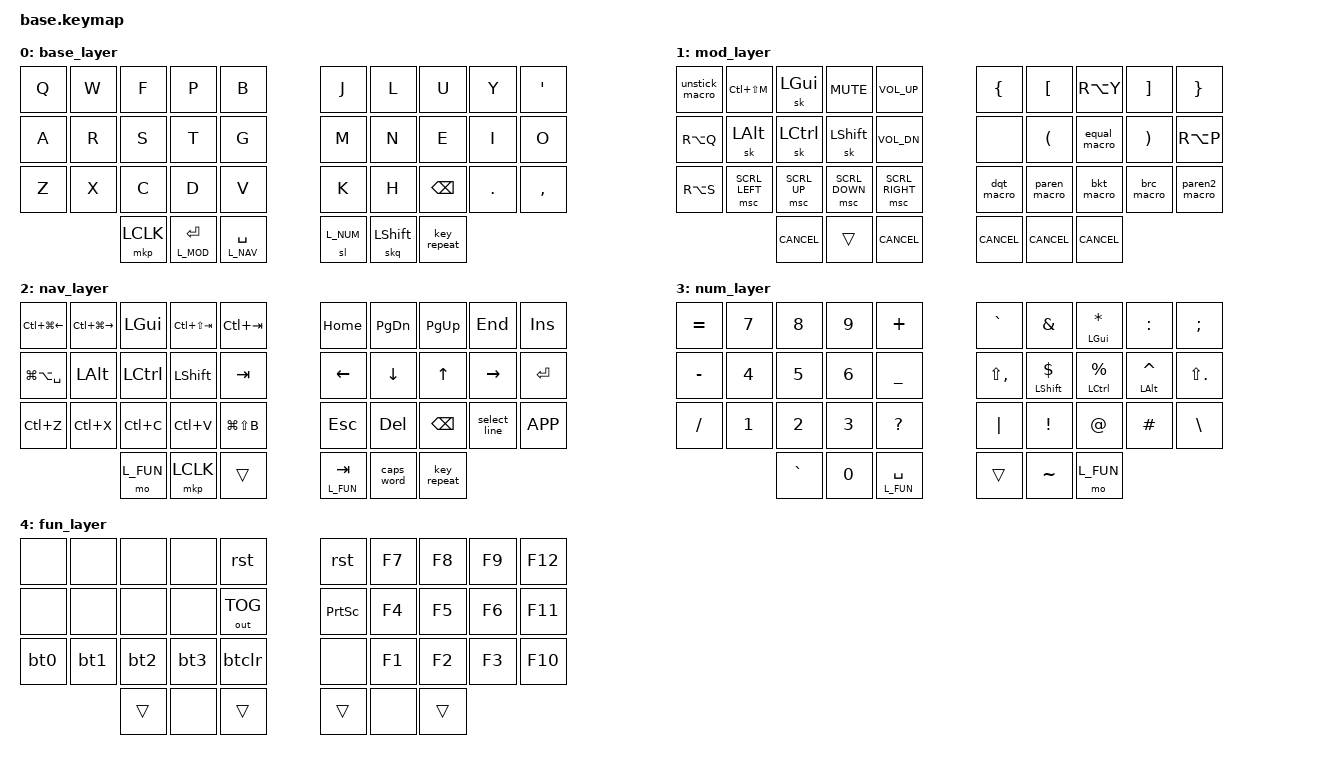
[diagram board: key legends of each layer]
#include <behaviors.dtsi>
#include <dt-bindings/zmk/keys.h>
#include <dt-bindings/zmk/bt.h>
#include <dt-bindings/zmk/outputs.h>
#include <dt-bindings/zmk/pointing.h>


#define L_BASE    0
#define L_MOD     1
#define L_NAV     2
#define L_NUM     3
#define L_FUN     4

//#define AS(keycode) &as LS(keycode) keycode

#define WIN_UND &kp LC(Z)
#define WIN_CUT &kp LC(X)
#define WIN_CPY &kp LC(C)
#define WIN_PST &kp LC(V)
#define WIN_PST2 &kp LG(LS(B))

&sk {
    release-after-ms = <3000>;
};


/ {
  behaviors {
    //// auto shift behavior copied from: https://github.com/serebrov/zmk-config/blob/master/config/microdox.keymap#L23-L36
    //as: auto_shift {
    //    compatible = "zmk,behavior-hold-tap";
    //    #binding-cells = <2>;
    //    tapping-term-ms = <250>;
    //    quick-tap-ms = <150>;
    //    flavor = "tap-preferred";
    //    bindings = <&kp>, <&kp>;
    //};

    // Note: quick-release fixes the issue of sticky shift producing multiple upper case letters (see https://github.com/zmkfirmware/zmk/issues/903#issuecomment-909209198).
    skq: sticky_key_quick_release {
      compatible = "zmk,behavior-sticky-key";
      #binding-cells = <1>;
      bindings = <&kp>;
      release-after-ms = <3000>;
      quick-release;
      ignore-modifiers;
    };

    hm: homerow_mods {
      compatible = "zmk,behavior-hold-tap";
      #binding-cells = <2>;
      flavor = "tap-preferred";
      tapping-term-ms = <250>;
      require-prior-idle-ms = <200>;
      quick-tap-ms = <150>;
      bindings = <&kp>, <&kp>;
    };

    ltf: fast_layer_tap {
      compatible = "zmk,behavior-hold-tap";
      #binding-cells = <2>;
      flavor = "tap-preferred";
      tapping-term-ms = <200>;
      bindings = <&mo>, <&kp>;
    };

    lts: slow_layer_tap {
      compatible = "zmk,behavior-hold-tap";
      #binding-cells = <2>;
      flavor = "tap-preferred";
      tapping-term-ms = <300>;
      bindings = <&mo>, <&kp>;
    };

    bt0: tap_dance_0 {
      compatible = "zmk,behavior-tap-dance";
      #binding-cells = <0>;
      tapping-term-ms = <200>;
      bindings = <&kp K_CANCEL>, <&bt BT_SEL 0>;
    };

    bt1: tap_dance_1 {
      compatible = "zmk,behavior-tap-dance";
      #binding-cells = <0>;
      tapping-term-ms = <200>;
      bindings = <&kp K_CANCEL>, <&bt BT_SEL 1>;
    };

    bt2: tap_dance_2 {
      compatible = "zmk,behavior-tap-dance";
      #binding-cells = <0>;
      tapping-term-ms = <200>;
      bindings = <&kp K_CANCEL>, <&bt BT_SEL 2>;
    };

    bt3: tap_dance_3 {
      compatible = "zmk,behavior-tap-dance";
      #binding-cells = <0>;
      tapping-term-ms = <200>;
      bindings = <&kp K_CANCEL>, <&bt BT_SEL 3>;
    };

    btclr: tap_dance_clr {
      compatible = "zmk,behavior-tap-dance";
      #binding-cells = <0>;
      tapping-term-ms = <200>;
      bindings = <&kp K_CANCEL>, <&bt BT_CLR>;
    };

    rst: tap_dance_reset {
      compatible = "zmk,behavior-tap-dance";
      #binding-cells = <0>;
      tapping-term-ms = <200>;
      bindings = <&sys_reset>, <&bootloader>;
    };
  };

  macros {
    ZMK_MACRO(paren_macro,
        bindings = <&kp LPAR &kp RPAR &kp LEFT>;
    )
    ZMK_MACRO(paren2_macro,
        bindings = <&kp LPAR &kp RPAR>;
    )
    ZMK_MACRO(bkt_macro,
        bindings = <&kp LBKT &kp RBKT &kp LEFT>;
    )
    ZMK_MACRO(brc_macro,
        bindings = <&kp LBRC &kp RBRC &kp LEFT>;
    )
    ZMK_MACRO(dqt_macro,
        bindings = <&kp DQT &kp DQT &kp LEFT>;
    )
    //ZMK_MACRO(rassign_macro,
    //    bindings = <&kp SPC &kp LT &kp MINUS &kp SPC>;
    //)
    ZMK_MACRO(equal_macro,
        bindings = <&kp SPC &kp EQUAL &kp SPC>;
    )
    ZMK_MACRO(unstick_macro,
        bindings = <&kp LSHIFT &kp RSHIFT &kp LCTRL &kp RCTRL &kp LALT &kp RALT &kp LGUI &kp RGUI>;
    )
    ZMK_MACRO(select_line,
        bindings
            = <&macro_tap &kp HOME>
            , <&macro_press &kp LSHFT>
            , <&macro_tap &kp END>
            , <&macro_release &kp LSHFT>
            ;
    )
    ZMK_MACRO(app_sw,
        bindings
            = <&macro_press &kp LALT &mo L_NAV>
            , <&macro_tap &kp TAB>
            , <&macro_pause_for_release>
            , <&macro_release &kp LALT &mo L_NAV>
            ;
    )
  };

  combos {
    compatible = "zmk,combos";

    combo_fg {
        timeout-ms = <30>;
        key-positions = <13 14>;
        bindings = <&app_sw>;
        slow-release;  // to keep alt from the macro held with one finger while repeatedly hitting tab with the other finger
    };

    combo_hj {
        timeout-ms = <30>;
        key-positions = <15 16>;
        bindings = <&dqt_macro>;
    };

    combo_jkl {
        timeout-ms = <30>;
        key-positions = <16 17 18>;
        bindings = <&kp RET>;
    };

    combo_zx {
        timeout-ms = <30>;
        key-positions = <21 22>;
        bindings = <&bkt_macro>;
    };

    combo_xc {
        timeout-ms = <30>;
        key-positions = <22 23>;
        bindings = <&brc_macro>;
    };

    combo_lpar {
        timeout-ms = <30>;
        key-positions = <26 27>;
        bindings = <&kp LC(BSPC)>;
    };

    combo_rpar {
        timeout-ms = <30>;
        key-positions = <27 28>;
        bindings = <&paren_macro>;
    };

    combo_pars {
      timeout-ms = <30>;
      key-positions = <26 27 28>;
      bindings = <&paren2_macro>;
    };
  };


  keymap {
    compatible = "zmk,keymap";

                base_layer {
                      bindings = <
&kp Q     &kp W   &kp F     &kp P     &kp B          &kp J   &kp L  &kp U     &kp Y     &kp SQT
&kp A     &kp R   &kp S     &kp T     &kp G          &kp M   &kp N  &kp E     &kp I     &kp O
&kp Z     &kp X   &kp C     &kp D     &kp V          &kp K   &kp H  &kp BSPC  &kp DOT   &kp COMMA
       &mkp LCLK  &ltf L_MOD RET  &ltf L_NAV SPC          &sl L_NUM  &skq LSHIFT  &key_repeat
                        >;
                };

// {       [    ü     ]      }
// no      (  ' = '   )      ö
// ""     ()   []    {}      ()
                mod_layer {
                      bindings = <
&unstick_macro   &kp LC(LS(M))   &sk LGUI       &kp C_MUTE     &kp C_VOL_UP          &kp LBRC       &kp LBKT        &kp RA(Y)     &kp RBKT        &kp RBRC
&kp RA(Q)        &sk LALT        &sk LCTRL      &sk LSHFT      &kp C_VOL_DN          &none          &kp LPAR        &equal_macro  &kp RPAR        &kp RA(P)
&kp RA(S)        &msc SCRL_LEFT  &msc SCRL_UP   &msc SCRL_DOWN &msc SCRL_RIGHT       &dqt_macro     &paren_macro    &bkt_macro    &brc_macro      &paren2_macro
                                               &kp K_CANCEL &trans &kp K_CANCEL    &kp K_CANCEL &kp K_CANCEL &kp K_CANCEL
                        >;
                };

                nav_layer {
                      bindings = <
&kp LC(LG(LEFT)) &kp LC(LG(RIGHT)) &kp LGUI  &kp LC(LS(TAB)) &kp LC(TAB)     &kp HOME      &kp PG_DN   &kp PG_UP     &kp END          &kp INS
&kp LG(LA(SPC))  &kp LALT      &kp LCTRL     &kp LSHFT        &kp TAB        &kp LEFT      &kp DOWN    &kp UP        &kp RIGHT        &kp RET
WIN_UND          WIN_CUT       WIN_CPY       WIN_PST          WIN_PST2       &kp ESC       &kp DEL     &kp BSPC      &select_line     &kp K_APP
                             &mo L_FUN       &mkp LCLK        &trans       &lts L_FUN TAB  &caps_word  &key_repeat

                        >;
                };

// = 7 8 9 +        ` & * : ;
// - 4 5 6 _        < $ % ^ >
// / 1 2 3 ?        | ! @ # \
//     ` 0 SPC   OSL ~ FUN
                num_layer {
                      bindings = <
&kp EQUAL     &kp N7    &kp N8    &kp N9    &kp PLUS              &kp GRAVE      &kp AMPERSAND     &hm LGUI STAR      &kp COLON        &kp SEMI
&kp MINUS     &kp N4    &kp N5    &kp N6    &kp UNDER             &kp LS(COMMA)  &hm LSHFT DOLLAR  &hm LCTRL PERCENT  &hm LALT CARET   &kp LS(DOT)
&kp SLASH     &kp N1    &kp N2    &kp N3    &kp QMARK             &kp PIPE       &kp EXCL          &kp AT             &kp HASH         &kp BACKSLASH
                        &kp GRAVE &kp N0  &lts L_FUN SPC        &trans         &kp TILDE    &mo L_FUN
                        >;
                };

                fun_layer {
                      bindings = <
&none        &none        &none        &none         &rst            &rst        &kp F7   &kp F8   &kp F9   &kp F12
&none        &none        &none        &none         &out OUT_TOG    &kp PSCRN   &kp F4   &kp F5   &kp F6   &kp F11
&bt0         &bt1         &bt2         &bt3          &btclr          &none       &kp F1   &kp F2   &kp F3   &kp F10
                                           &trans    &none  &trans   &trans  &none  &trans
                        >;
                };
        };
};
